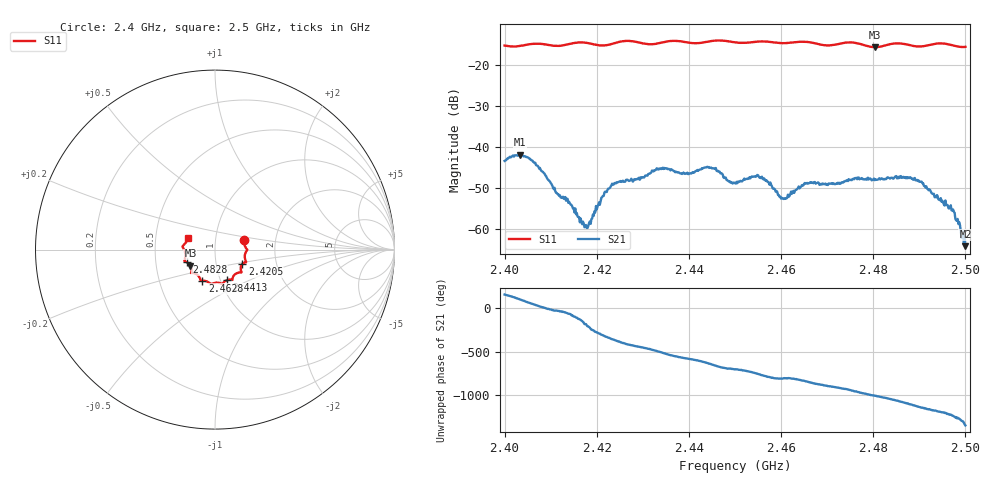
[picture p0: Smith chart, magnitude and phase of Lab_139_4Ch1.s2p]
# Hz S RI R 50
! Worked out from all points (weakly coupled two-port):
!   601 points, 2.4 GHz to 2.5 GHz, reference 50 ohm
!   highest |S21| = -41.97 dB at 2.4033 GHz (marker M1); lowest = -64.3 dB at 2.5 GHz (marker M2)
!   lowest |S11| = -15.7 dB at 2.4803 GHz (marker M3), VSWR 1.39, Z = 37.4 - j6.84 ohm
!   |S11| at or under -10 dB: start of sweep to end of sweep
!   S12 and S22 are empty: the file has one direction only
!   S11 on the Smith chart (normalised r, x): 2.4 GHz: 1.38, +0.15; 2.4205 GHz: 1.34, -0.22; 2.4413 GHz: 1.08, -0.38; 2.4628 GHz: 0.82, -0.29; 2.4828 GHz: 0.72, -0.10; 2.5 GHz: 0.73, +0.10
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2.4e9  0.1628 0.0527  -0.00608 0.00282  0 0  0 0
2.403333e9  0.1683 0.0154  -0.00132 0.00786  0 0  0 0
2.407167e9  0.1806 -0.00118  0.00527 0.00254  0 0  0 0
2.416667e9  0.1735 -0.0697  -0.000964 -0.000723  0 0  0 0
2.418167e9  0.1684 -0.0715  -0.000933 0.000563  0 0  0 0
2.4205e9  0.1521 -0.081  0.000817 0.00194  0 0  0 0
2.423833e9  0.1436 -0.1131  0.00357 -0.000424  0 0  0 0
2.433333e9  0.1004 -0.1515  -0.00402 -0.00339  0 0  0 0
2.441333e9  0.0676 -0.1698  -0.00264 0.00424  0 0  0 0
2.445333e9  0.0429 -0.1908  0.00228 0.00496  0 0  0 0
2.45e9  0.0247 -0.1857  0.00349 0.000881  0 0  0 0
2.454667e9  -0.0148 -0.19  0.00372 -0.00234  0 0  0 0
2.457333e9  -0.0269 -0.1884  0.00111 -0.00346  0 0  0 0
2.460167e9  -0.0478 -0.1766  -6.9e-05 -0.00238  0 0  0 0
2.462833e9  -0.0712 -0.1735  -0.000156 -0.00273  0 0  0 0
2.466667e9  -0.0815 -0.1672  -0.00279 -0.00239  0 0  0 0
2.480333e9  -0.1371 -0.089  0.00125 0.00371  0 0  0 0
2.482833e9  -0.1584 -0.0702  0.00292 0.00278  0 0  0 0
2.483333e9  -0.1624 -0.0683  0.00333 0.00252  0 0  0 0
2.490333e9  -0.166 -0.0182  0.00166 -0.00335  0 0  0 0
2.497167e9  -0.17 0.0302  -0.00154 -0.000641  0 0  0 0
2.5e9  -0.1522 0.0639  4.35e-06 0.000613  0 0  0 0
